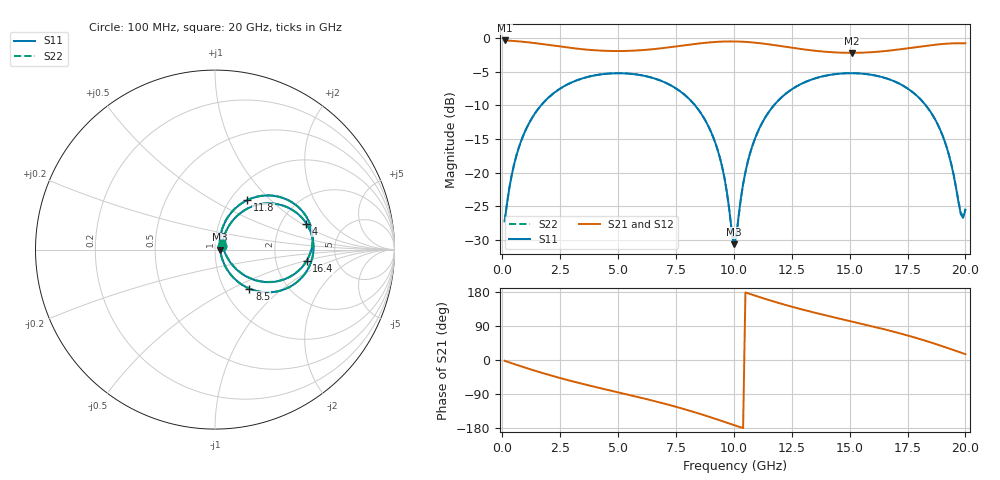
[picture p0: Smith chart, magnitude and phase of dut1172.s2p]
! Touchstone file exported from HFSS 2026.1.0
!  File:  C:/ffzhzh/LocalFiles/Ansys_Project_Files/temp_train_TSV_RDL_1172_1783314494_39728.aedt
!  Generated:  01:23:44 PM Jul  6, 2026
!  Design:  TSV_RDL
!  Project:  temp_train_TSV_RDL_1172_1783314494_39728
! Variables:
!  h_bsmrdl = 4.3um
!  h_ox = 20um
!  h_rdl = 5um
!  h_sub = 73.26um
!  h_tmrdl = 2.38um
!  h_tsv = 73.26um
!  h_via = 3um
!  l_bsmrdl = 665.53um
!  l_sub = 5747.47um
!  l_tmrdl = 803.46um
!  m_sub = 200um
!  pitch = 48.46um
!  r_tsv = 4.84um
!  s_tmrdl = 10um
!  w_bsmrdl = 29.59um
!  w_sub = 500um
!  w_tmrdl = 16.09um
!  x_tsv_center1 = 811.505um
!  x_tsv_center2 = 1506.625um
!  x_tsv_center3 = 2326.175um
!  x_tsv_center4 = 3021.295um
!  x_tsv_center5 = 3840.845um
!  x_tsv_center6 = 4535.965um
# GHz S MA R 50.000000
! Terminal data exported
! Port[1] = TM_RDL1_1_T1
! Port[2] = TM_RDL5_1_T1
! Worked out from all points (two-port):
!   200 points, 100 MHz to 20 GHz, reference 50 ohm
!   highest |S21| = -0.33 dB at 100 MHz (marker M1); lowest = -2.2 dB at 15.1 GHz (marker M2)
!   |S21| within 3 dB of the highest: start of sweep to end of sweep
!   lowest |S11| = -30.6 dB at 10 GHz (marker M3), VSWR 1.06, Z = 53 - j0.109 ohm
!   |S11| at or under -10 dB: start of sweep to 1.671 GHz; 8.326 GHz to 11.73 GHz (3.4 GHz wide, 33.9 % of centre); 18.29 GHz to end of sweep
!   |S22| runs from -30.9 to -5.2 dB; largest |S21 - S12| = 1.6e-14
!   S11 on the Smith chart (normalised r, x): 100 MHz: 1.08, +0.05; 4 GHz: 2.75, +1.11; 8.5 GHz: 1.31, -0.62; 11.8 GHz: 1.19, +0.73; 16.4 GHz: 3.01, -0.52; 20 GHz: 1.08, +0.08
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0.1  0.04345 28.9  0.9625 -2.2  0.9625 -2.2  0.04345 28.9
! Gamma 0 0 0 0
! Port Impedance 50 0 50 0
0.5  0.1135 58.6  0.9539 -10.5  0.9539 -10.5  0.1135 58.6
1.2  0.2409 55.7  0.9292 -24.3  0.9292 -24.3  0.2409 55.7
3.5  0.505 22.8  0.8271 -63.5  0.8271 -63.5  0.505 22.8
4  0.5296 15.9  0.8136 -71.0  0.8136 -71.0  0.5297 15.9
6.8  0.4866 -22.5  0.8392 -112.0  0.8392 -112.0  0.4866 -22.6
8.5  0.2893 -48.6  0.9142 -141.4  0.9142 -141.4  0.2893 -48.7
9.4  0.1288 -58.6  0.9425 -159.2  0.9425 -159.2  0.1286 -58.9
9.7  0.07163 -53.6  0.9463 -165.4  0.9463 -165.4  0.07132 -54.3
10  0.02935 -2.0  0.9466 -171.5  0.9466 -171.5  0.02841 -2.4
10.1  0.03322 33.5  0.9459 -173.6  0.9459 -173.6  0.03233 34.3
10.4  0.08233 67.8  0.9416 -179.8  0.9416 -179.8  0.08192 68.5
10.7  0.1394 70.6  0.9339 174.1  0.9339 174.1  0.1392 71.0
11.8  0.3272 57.0  0.8863 152.9  0.8863 152.9  0.327 57.2
13.4  0.4959 33.2  0.8106 126.3  0.8106 126.3  0.4957 33.3
15.1  0.5498 10.3  0.7785 101.5  0.7785 101.5  0.5497 10.4
16.4  0.514 -7.1  0.7986 82.5  0.7986 82.5  0.5139 -7.0
16.7  0.4954 -11.3  0.8083 77.9  0.8083 77.9  0.4953 -11.1
18.6  0.2652 -38.5  0.8916 44.5  0.8916 44.5  0.2653 -38.2
19.3  0.1332 -42.0  0.9132 30.3  0.9132 30.3  0.1336 -41.4
19.8  0.04923 -3.4  0.9178 19.7  0.9178 19.7  0.05048 -2.6
20  0.05274 43.2  0.9166 15.4  0.9166 15.4  0.054 42.6
